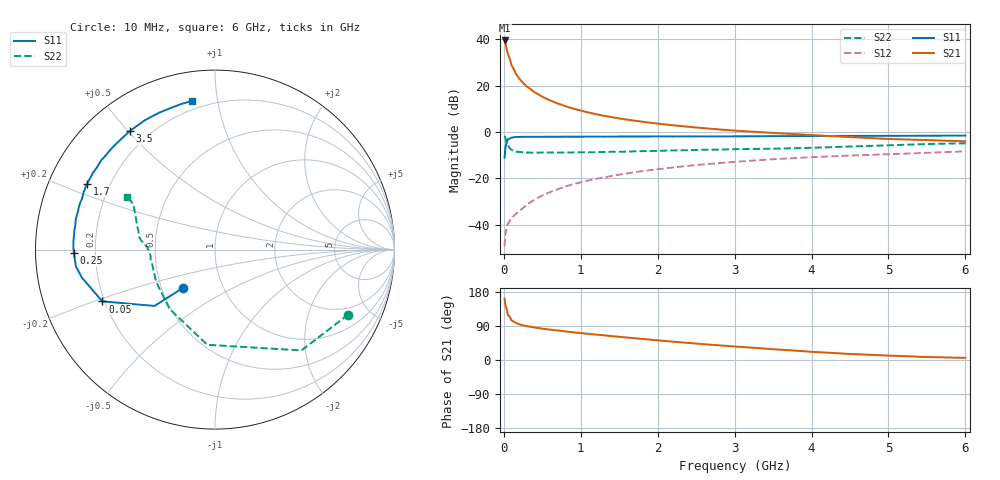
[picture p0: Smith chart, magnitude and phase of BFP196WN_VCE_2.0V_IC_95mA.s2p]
! Infineon Technologies  Discrete & RF Semiconductors
! BFP196WN
! VCE =  2.0 V,  IC =  95 mA
! Common Emitter S-Parameters:  Jan 2017
# GHz  S  MA  R  50
!  f  S11  S21  S12  S22
! GHz  MAG  ANG  MAG  ANG  MAG  ANG  MAG  ANG
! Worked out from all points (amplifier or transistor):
!   77 points, 10 MHz to 6 GHz, reference 50 ohm
!   highest |S21| = 39.4 dB at 10 MHz (marker M1)
!   |S21| within 3 dB of that: start of sweep to 32.35 MHz
!   unconditionally stable (mu >= 1): 377 MHz to 2.819 GHz
!   at 130 MHz: K = 0.75, MSG = 31.5 dB, |S12| = -36.1 dB
!   at 2.2 GHz: K = 1.03, MAG = 8.1 dB, |S12| = -15.3 dB
!   at 6 GHz: K = 0.94, MSG = 2.1 dB, |S12| = -8.3 dB
!   S11 on the Smith chart (normalised r, x): 10 MHz: 0.64, -0.30; 50 MHz: 0.19, -0.21; 250 MHz: 0.12, -0.01; 1.7 GHz: 0.12, +0.24; 3.5 GHz: 0.13, +0.50; 6 GHz: 0.15, +0.85
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0.01  0.2808 -130.1  93.14 161.8  0.0035 76.6  0.8261 -26.0
0.02  0.4599 -137.0  80.03 145.4  0.0063 61.7  0.74 -49.4
0.05  0.6909 -155.3  49.43 119.4  0.0104 50.1  0.532 -94.6
0.1  0.7577 -168.1  27.35 104.5  0.0138 55.1  0.4166 -127.3
0.15  0.7805 -173.1  18.72 98.1  0.017 57.9  0.3804 -143.2
0.2  0.7832 -176.5  14.15 94.2  0.0199 64.1  0.3728 -151.8
0.25  0.7869 -178.6  11.37 91.4  0.0232 64.5  0.3656 -157.0
0.3  0.7887 179.5  9.507 89.3  0.0274 67.4  0.3615 -161.4
0.4  0.7902 176.4  7.165 85.6  0.0351 70.4  0.3591 -166.1
0.5  0.7898 174.1  5.736 82.8  0.0431 72.0  0.3614 -169.5
0.6  0.7909 171.9  4.79 80.1  0.051 72.1  0.3627 -172.1
0.7  0.7899 170.0  4.104 77.9  0.0584 72.6  0.3604 -174.0
0.9  0.7932 166.0  3.195 73.1  0.0751 71.9  0.3642 -176.4
1.1  0.7948 162.5  2.629 69.1  0.0905 71.2  0.3669 -178.8
1.4  0.7961 157.5  2.092 63.1  0.1132 69.1  0.3754 179.0
1.7  0.8011 152.7  1.752 57.5  0.1365 67.0  0.3842 177.2
2.1  0.8021 146.6  1.453 50.1  0.1656 63.4  0.3973 175.0
3.1  0.807 131.6  1.047 34.3  0.2342 54.2  0.4294 169.9
3.5  0.8137 125.8  0.955 28.4  0.2597 50.5  0.4375 167.0
4.1  0.8199 117.2  0.842 20.5  0.2922 44.9  0.4632 160.6
5.1  0.8275 106.6  0.7 10.9  0.3374 36.9  0.5239 151.0
6  0.8387 98.7  0.629 5.6  0.3841 30.8  0.5708 148.9
